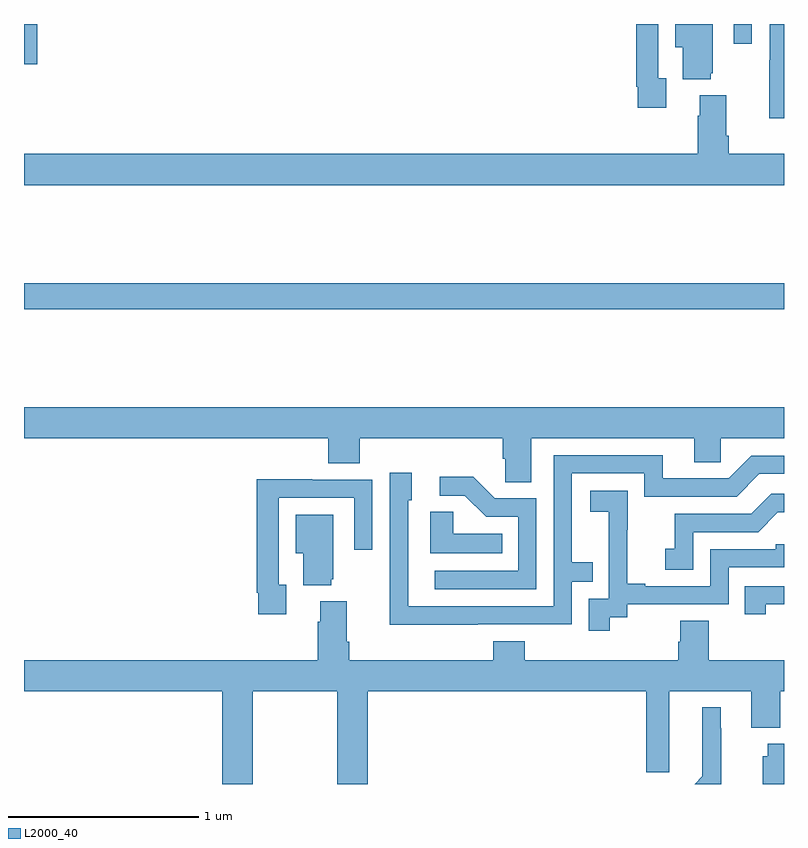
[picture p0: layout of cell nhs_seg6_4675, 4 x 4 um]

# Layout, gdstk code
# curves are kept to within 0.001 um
import gdstk
lib = gdstk.Library(unit=1e-6, precision=1e-09)
def R(c, l, rs):  # rectangles x0, y0, x1, y1
    for r in rs: c.add(gdstk.rectangle(r[:2], r[2:], *l))
def P(c, l, *ps):  # polygons
    for p in ps: c.add(gdstk.Polygon(p, *l))
L2000_40 = (2000, 40)

nhs_seg6_4675 = lib.new_cell('nhs_seg6_4675')
R(nhs_seg6_4675, L2000_40, [(387,964,391,964.136), (387,965.289,387.071,965.5), (390.735,965.397,390.831,965.5)])
P(nhs_seg6_4675, L2000_40, [(390.614,965.241),(390.625,965.241),(390.625,965.5),(390.428,965.5),(390.428,965.378),(390.467,965.378),(390.467,965.21),(390.614,965.21)],
  [(390.379,965.214),(390.339,965.214),(390.339,965.5),(390.223,965.5),(390.223,965.17),(390.231,965.17),(390.231,965.058),(390.379,965.058)],
  [(391,965.5),(390.924,965.5),(390.924,965.309),(390.922,965.309),(390.922,965.003),(391,965.003)],
  [(391,964.816),(390.71,964.816),(390.71,964.912),(390.697,964.912),(390.697,965.125),(390.557,965.125),(390.557,965.018),(390.545,965.018),(390.545,964.816),(387,964.816),(387,964.652),(391,964.652)],
  [(389.671,963.32),(390.527,963.32),(390.527,963.193),(390.666,963.193),(390.666,963.32),(391,963.32),(391,963.484),(387,963.484),(387,963.32),(388.601,963.32),(388.601,963.187),(388.766,963.187),(388.766,963.32),(389.519,963.32),(389.519,963.211),(389.532,963.211),(389.532,963.088),(389.671,963.088)],
  [(389.387,962.34),(389.883,962.34),(389.883,962.565),(389.993,962.565),(389.993,962.666),(389.883,962.666),(389.883,963.135),(390.264,963.135),(390.264,963.012),(390.75,963.012),(390.87,963.132),(391,963.132),(391,963.228),(390.828,963.228),(390.708,963.108),(390.361,963.108),(390.361,963.231),(389.787,963.231),(389.787,962.436),(389.022,962.436),(389.022,962.994),(389.041,962.994),(389.041,963.139),(388.926,963.139),(388.926,962.645),(388.924,962.645),(388.924,962.339)],
  [(389.697,963.003),(389.478,963.003),(389.365,963.116),(389.187,963.116),(389.187,963.018),(389.321,963.018),(389.432,962.907),(389.601,962.907),(389.601,962.622),(389.163,962.622),(389.163,962.526),(389.697,962.526)],
  [(388.381,962.55),(388.341,962.55),(388.341,963.006),(388.737,963.006),(388.737,962.733),(388.833,962.733),(388.833,963.102),(388.517,963.102),(388.517,963.104),(388.225,963.104),(388.225,962.506),(388.233,962.506),(388.233,962.394),(388.381,962.394)],
  [(390.082,962.377),(390.174,962.377),(390.174,962.445),(390.708,962.445),(390.708,962.64),(391,962.64),(391,962.763),(390.957,962.763),(390.957,962.736),(390.612,962.736),(390.612,962.541),(390.271,962.541),(390.271,962.554),(390.176,962.554),(390.176,962.837),(390.177,962.837),(390.177,963.043),(389.979,963.043),(389.979,962.933),(390.077,962.933),(390.077,962.705),(390.078,962.705),(390.078,962.475),(389.973,962.475),(389.973,962.307),(390.082,962.307)],
  [(390.522,962.826),(390.864,962.826),(390.968,962.93),(391,962.93),(391,963.027),(390.932,963.027),(390.827,962.922),(390.424,962.922),(390.424,962.737),(390.375,962.737),(390.375,962.628),(390.522,962.628)],
  [(389.516,962.818),(389.259,962.818),(389.259,962.933),(389.138,962.933),(389.138,962.714),(389.516,962.714)],
  [(388.616,962.577),(388.627,962.577),(388.627,962.917),(388.43,962.917),(388.43,962.714),(388.469,962.714),(388.469,962.546),(388.616,962.546)],
  [(390.904,962.445),(391,962.445),(391,962.541),(390.793,962.541),(390.793,962.394),(390.904,962.394)],
  [(387,961.988),(388.043,961.988),(388.043,961.5),(388.203,961.5),(388.203,961.988),(388.648,961.988),(388.648,961.5),(388.808,961.5),(388.808,961.988),(390.275,961.988),(390.275,961.563),(390.397,961.563),(390.397,961.988),(390.827,961.988),(390.827,961.796),(390.98,961.796),(390.98,961.988),(391,961.988),(391,962.152),(390.603,962.152),(390.603,962.36),(390.455,962.36),(390.455,962.25),(390.443,962.25),(390.443,962.152),(389.636,962.152),(389.636,962.251),(389.471,962.251),(389.471,962.152),(388.712,962.152),(388.712,962.248),(388.699,962.248),(388.699,962.461),(388.559,962.461),(388.559,962.354),(388.547,962.354),(388.547,962.152),(387,962.152)],
  [(390.671,961.502),(390.671,961.793),(390.667,961.793),(390.667,961.903),(390.569,961.903),(390.569,961.642),(390.57,961.642),(390.57,961.54),(390.53,961.5),(390.669,961.5)],
  [(391,961.711),(390.914,961.711),(390.914,961.647),(390.887,961.647),(390.887,961.5),(391,961.5)])

lib.write_gds('nhs_seg6_4675.gds')
